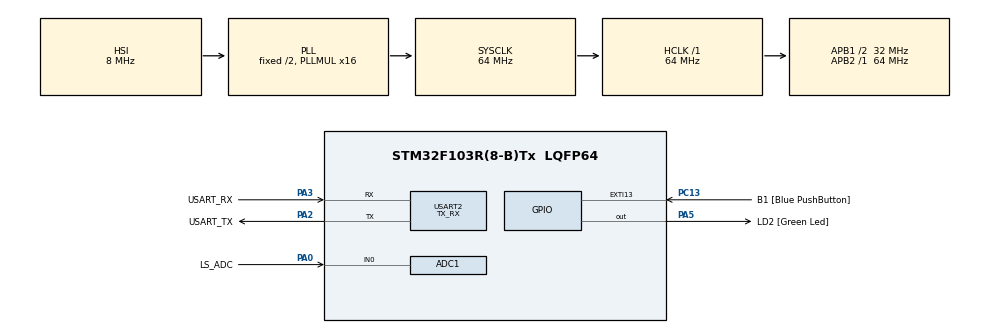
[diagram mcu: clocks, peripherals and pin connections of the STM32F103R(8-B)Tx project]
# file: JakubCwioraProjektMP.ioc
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ADC1.Channel-0\#ChannelRegularConversion=ADC_CHANNEL_0
ADC1.ContinuousConvMode=ENABLE
ADC1.ExternalTrigConv=ADC_EXTERNALTRIGCONV_T3_TRGO
ADC1.NbrOfConversion=1
ADC1.NbrOfConversionFlag=1
ADC1.Rank-0\#ChannelRegularConversion=1
ADC1.SamplingTime-0\#ChannelRegularConversion=ADC_SAMPLETIME_1CYCLE_5
ADC1.master=1
Dma.ADC1.0.Direction=DMA_PERIPH_TO_MEMORY
Dma.ADC1.0.Instance=DMA1_Channel1
Dma.ADC1.0.MemDataAlignment=DMA_MDATAALIGN_HALFWORD
Dma.ADC1.0.MemInc=DMA_MINC_ENABLE
Dma.ADC1.0.Mode=DMA_CIRCULAR
Dma.ADC1.0.PeriphDataAlignment=DMA_PDATAALIGN_HALFWORD
Dma.ADC1.0.PeriphInc=DMA_PINC_DISABLE
Dma.ADC1.0.Priority=DMA_PRIORITY_LOW
Dma.Request0=ADC1
Dma.Request1=USART2_RX
Dma.USART2_RX.1.Direction=DMA_PERIPH_TO_MEMORY
Dma.USART2_RX.1.Instance=DMA1_Channel6
Dma.USART2_RX.1.MemDataAlignment=DMA_MDATAALIGN_BYTE
Dma.USART2_RX.1.MemInc=DMA_MINC_ENABLE
Dma.USART2_RX.1.Mode=DMA_NORMAL
Dma.USART2_RX.1.PeriphDataAlignment=DMA_PDATAALIGN_BYTE
Dma.USART2_RX.1.PeriphInc=DMA_PINC_DISABLE
Dma.USART2_RX.1.Priority=DMA_PRIORITY_LOW
Mcu.Family=STM32F1
Mcu.Name=STM32F103R(8-B)Tx
Mcu.Package=LQFP64
NVIC.ADC1_2_IRQn=true\:0\:0\:true\:false\:true\:true\:true\:true
NVIC.DMA1_Channel1_IRQn=true\:0\:0\:false\:false\:true\:false\:true\:true
NVIC.DMA1_Channel6_IRQn=true\:0\:0\:false\:false\:true\:false\:true\:true
NVIC.EXTI15_10_IRQn=true\:0\:0\:false\:false\:true\:true\:true\:true
NVIC.PriorityGroup=NVIC_PRIORITYGROUP_4
NVIC.USART2_IRQn=true\:0\:0\:false\:false\:true\:true\:true\:true
PA0-WKUP.GPIO_Label=LS_ADC
PA0-WKUP.Signal=ADCx_IN0
PA13.GPIO_Label=TMS
PA13.Mode=Serial_Wire
PA13.Signal=SYS_JTMS-SWDIO
PA14.GPIO_Label=TCK
PA14.Mode=Serial_Wire
PA14.Signal=SYS_JTCK-SWCLK
PA2.GPIO_Label=USART_TX
PA2.GPIO_Mode=GPIO_MODE_AF_PP
PA2.GPIO_PuPd=GPIO_NOPULL
PA2.GPIO_Speed=GPIO_SPEED_FREQ_LOW
PA2.Mode=Asynchronous
PA2.Signal=USART2_TX
PA3.GPIO_Label=USART_RX
PA3.GPIO_Mode=GPIO_MODE_AF_PP
PA3.GPIO_PuPd=GPIO_NOPULL
PA3.GPIO_Speed=GPIO_SPEED_FREQ_LOW
PA3.Mode=Asynchronous
PA3.Signal=USART2_RX
PA5.GPIO_Label=LD2 [Green Led]
PA5.GPIO_ModeDefaultOutputPP=GPIO_MODE_OUTPUT_PP
PA5.GPIO_PuPd=GPIO_NOPULL
PA5.GPIO_Speed=GPIO_SPEED_FREQ_LOW
PA5.Signal=GPIO_Output
PB3.GPIO_Label=SWO
PB3.Signal=SYS_JTDO-TRACESWO
PC13-TAMPER-RTC.GPIO_Label=B1 [Blue PushButton]
PC13-TAMPER-RTC.GPIO_PuPd=GPIO_NOPULL
PC13-TAMPER-RTC.Signal=GPXTI13
PC14-OSC32_IN.Mode=LSE-External-Oscillator
PC14-OSC32_IN.Signal=RCC_OSC32_IN
PC15-OSC32_OUT.Mode=LSE-External-Oscillator
PC15-OSC32_OUT.Signal=RCC_OSC32_OUT
PD0-OSC_IN.Mode=HSE-External-Clock-Source
PD0-OSC_IN.Signal=RCC_OSC_IN
PD1-OSC_OUT.Mode=HSE-External-Clock-Source
PD1-OSC_OUT.Signal=RCC_OSC_OUT
ProjectManager.HeapSize=0x200
ProjectManager.StackSize=0x400
ProjectManager.TargetToolchain=STM32CubeIDE
RCC.ADCPresc=RCC_ADCPCLK2_DIV8
RCC.AHBFreq_Value=64000000
RCC.APB1CLKDivider=RCC_HCLK_DIV2
RCC.APB1Freq_Value=32000000
RCC.APB1TimFreq_Value=64000000
RCC.APB2Freq_Value=64000000
RCC.APB2TimFreq_Value=64000000
RCC.HCLKFreq_Value=64000000
RCC.PLLMUL=RCC_PLL_MUL16
RCC.RTCClockSelection=RCC_RTCCLKSOURCE_LSE
RCC.SYSCLKFreq_VALUE=64000000
RCC.SYSCLKSource=RCC_SYSCLKSOURCE_PLLCLK
RCC.USBFreq_Value=64000000
SH.ADCx_IN0.0=ADC1_IN0,IN0
TIM3.AutoReloadPreload=TIM_AUTORELOAD_PRELOAD_ENABLE
TIM3.Period=999
TIM3.Prescaler=7
TIM3.TIM_MasterOutputTrigger=TIM_TRGO_UPDATE
USART2.Mode=MODE_TX_RX
USART2.VirtualMode=VM_ASYNC
VP_TIM3_VS_ClockSourceINT.Mode=Internal
board=NUCLEO-F103RB

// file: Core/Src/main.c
/* USER CODE BEGIN Header */
/**
 * @file           : main.c
 * @brief          : Main program body
 */
/* USER CODE END Header */
#include "main.h"
#include "adc.h"
#include "dma.h"
#include "tim.h"
#include "usart.h"
#include "gpio.h"

/* USER CODE BEGIN Includes */
#include <stdio.h>
#include <string.h>
#include <stdbool.h>
#include "arm_math.h"
#include "arm_const_structs.h"
#include "circ_buffer.h"
#include "message_builder.h"
#include "parser.h"
#include "utils.h"
/* USER CODE END Includes */

/* USER CODE BEGIN PD */
#define BUFFER_SIZE_UART 2048
#define BUFFER_SIZE_ADC  512
#define FFT_SIZE         256
#define FRAME_MAX_LEN    255
/* USER CODE END PD */

/* USER CODE BEGIN PV */
__IO bool uart_tx_busy = false;

uint8_t rx_array[BUFFER_SIZE_UART];
uint8_t tx_array[BUFFER_SIZE_UART];
uint8_t dma_uart_rx_buffer[BUFFER_SIZE_UART];

// DSP Buffers
uint16_t adc_dma_buffer[BUFFER_SIZE_ADC];
q31_t fft_input_buffer[FFT_SIZE * 2];
q31_t fft_output[FFT_SIZE];

__IO circ_buf_t Rx_buff = { .buffer = rx_array, .size = BUFFER_SIZE_UART, .head = 0, .tail = 0 };
__IO circ_buf_t Tx_buff = { .buffer = tx_array, .size = BUFFER_SIZE_UART, .head = 0, .tail = 0 };

FrameParser parser;

volatile uint8_t adc_half_cplt = 0;
volatile uint8_t adc_full_cplt = 0;
/* USER CODE END PV */

void SystemClock_Config(void);
/* USER CODE BEGIN PFP */
void process_data_from_circular_buffer(void);
void process_fft_data(uint16_t *source_buffer);

// Functions exposed to command_processor.c
void SendFrame(uint8_t id, const uint8_t *data, size_t len, const uint8_t *rec);
void send_dft_data(uint8_t index, uint16_t value);
void send_error(uint8_t error_code, const uint8_t* rec);
/* USER CODE END PFP */

int main(void)
{

  /* MCU Configuration--------------------------------------------------------*/

  /* Reset of all peripherals, Initializes the Flash interface and the Systick. */
  HAL_Init();

  /* Configure the system clock */
  SystemClock_Config();

  /* Initialize all configured peripherals */
  MX_GPIO_Init();
  MX_DMA_Init();
  MX_USART2_UART_Init();
  MX_ADC1_Init();
  MX_TIM3_Init();
  /* USER CODE BEGIN 2 */
  Parser_Init(&parser);

  // Start Peripherals
  HAL_UARTEx_ReceiveToIdle_DMA(&huart2, dma_uart_rx_buffer, BUFFER_SIZE_UART);
  HAL_ADC_Start_DMA(&hadc1, (uint32_t*) adc_dma_buffer, BUFFER_SIZE_ADC);
  HAL_TIM_Base_Start(&htim3);
  /* USER CODE END 2 */

  /* Infinite loop */
  while (1)
  {

    /* USER CODE BEGIN 3 */
	// 1. Handle Communication
	process_data_from_circular_buffer();

	// 2. Handle DSP (First Half)
	if (adc_half_cplt) {
		adc_half_cplt = 0;
		process_fft_data(&adc_dma_buffer[0]);
	}

	// 3. Handle DSP (Second Half)
	if (adc_full_cplt) {
		adc_full_cplt = 0;
		process_fft_data(&adc_dma_buffer[FFT_SIZE]);
	}
  }
  /* USER CODE END 3 */
}

void SystemClock_Config(void)
{
  RCC_OscInitTypeDef RCC_OscInitStruct = {0};
  RCC_ClkInitTypeDef RCC_ClkInitStruct = {0};
  RCC_PeriphCLKInitTypeDef PeriphClkInit = {0};

  /** Initializes the RCC Oscillators according to the specified parameters
  * in the RCC_OscInitTypeDef structure.
  */
  RCC_OscInitStruct.OscillatorType = RCC_OSCILLATORTYPE_HSI;
  RCC_OscInitStruct.HSIState = RCC_HSI_ON;
  RCC_OscInitStruct.HSICalibrationValue = RCC_HSICALIBRATION_DEFAULT;
  RCC_OscInitStruct.PLL.PLLState = RCC_PLL_ON;
  RCC_OscInitStruct.PLL.PLLSource = RCC_PLLSOURCE_HSI_DIV2;
  RCC_OscInitStruct.PLL.PLLMUL = RCC_PLL_MUL16;
  if (HAL_RCC_OscConfig(&RCC_OscInitStruct) != HAL_OK)
  {
    Error_Handler();
  }

  /** Initializes the CPU, AHB and APB buses clocks
  */
  RCC_ClkInitStruct.ClockType = RCC_CLOCKTYPE_HCLK|RCC_CLOCKTYPE_SYSCLK
                              |RCC_CLOCKTYPE_PCLK1|RCC_CLOCKTYPE_PCLK2;
  RCC_ClkInitStruct.SYSCLKSource = RCC_SYSCLKSOURCE_PLLCLK;
  RCC_ClkInitStruct.AHBCLKDivider = RCC_SYSCLK_DIV1;
  RCC_ClkInitStruct.APB1CLKDivider = RCC_HCLK_DIV2;
  RCC_ClkInitStruct.APB2CLKDivider = RCC_HCLK_DIV1;

  if (HAL_RCC_ClockConfig(&RCC_ClkInitStruct, FLASH_LATENCY_2) != HAL_OK)
  {
    Error_Handler();
  }
  PeriphClkInit.PeriphClockSelection = RCC_PERIPHCLK_ADC;
  PeriphClkInit.AdcClockSelection = RCC_ADCPCLK2_DIV8;
  if (HAL_RCCEx_PeriphCLKConfig(&PeriphClkInit) != HAL_OK)
  {
    Error_Handler();
  }
}

/* USER CODE BEGIN 4 */
void process_data_from_circular_buffer(void) {
	uint8_t byte_to_process;
	while (cbuf_pop(&Rx_buff, &byte_to_process)) {

//		 // ================= ECHO START =================
//		        // 1. Wrzuć odebrany znak do bufora nadawczego (TX)
//		        cbuf_push(&Tx_buff, byte_to_process);
//
//		        if (byte_to_process == '\r') {
//		             cbuf_push(&Tx_buff, '\n');
//		        }
//
//		        // 2. Sprawdź czy transmisja trwa.
//		        __disable_irq();
//		        if (!uart_tx_busy && !cbuf_is_empty(&Tx_buff)) {
//		            uint8_t tx_byte;
//		            if (cbuf_pop(&Tx_buff, &tx_byte)) {
//		                uart_tx_busy = true;
//		                HAL_UART_Transmit_IT(&huart2, &tx_byte, 1);
//		            }
//		        }
//		        __enable_irq();
//		        // ================= ECHO END ===================

		Parser_ProcessByte(&parser, byte_to_process);
	}
}

void process_fft_data(uint16_t *source_buffer) {
    int32_t sum = 0;

    // 1. Oblicz średnią, aby idealnie usunąć DC Offset (Indeks zerowy wyniku dft)
    for (int i = 0; i < FFT_SIZE; i++) {
        sum += source_buffer[i];
    }
    int32_t avg = sum / FFT_SIZE;

    // 2. Przygotuj dane do Q31
    for (int i = 0; i < FFT_SIZE; i++) {
        // Odejmujemy realną średnią zamiast sztywnego 2048
        int32_t val = (int32_t)source_buffer[i] - avg;

        fft_input_buffer[i * 2] = (val << 14);
        fft_input_buffer[i * 2 + 1] = 0;       // Imaginary
    }

    // 3. Wykonaj FFT
    arm_cfft_q31(&arm_cfft_sR_q31_len256, fft_input_buffer, 0, 1);

    // 4. Oblicz magnitudę
    arm_cmplx_mag_q31(fft_input_buffer, fft_output, FFT_SIZE);

    // 5. Opcjonalne czyszczenie bin 0 (jeśli obliczona średnia nie była idealna)
    fft_output[0] = 0;
}

void SendFrame(uint8_t id, const uint8_t *data, size_t len, const uint8_t *rec) {
	message_builder builder;
	uint8_t build_buffer[FRAME_MAX_LEN];
	char hex_tmp[10];
	char reciever[2] = {rec[0], rec[1]};
	message_builder_init(&builder, build_buffer, sizeof(build_buffer));
	message_builder_add_text(&builder, "(ST");
	message_builder_add_text(&builder, reciever); // FIX: dodajemy adresata z parametrów
	sprintf(hex_tmp, "%02X", id);
	message_builder_add_text(&builder, hex_tmp);

	// Encode Data Payload to Hex
	for (size_t i = 0; i < len; i++) {
		sprintf(hex_tmp, "%02X", data[i]);
		message_builder_add_text(&builder, hex_tmp);
	}

	// Calculate CRC on RAW binary data (ID + Payload)
	uint8_t crc_calc_buf[len + 1];
	crc_calc_buf[0] = id;
	if (len > 0)
		memcpy(&crc_calc_buf[1], data, len);

	uint16_t crc_val = crc16(crc_calc_buf, len + 1);

	sprintf(hex_tmp, "%04X", crc_val);
	message_builder_add_text(&builder, hex_tmp);
	message_builder_add_text(&builder, ")"); // Footer

	// Push to TX Buffer
	for (size_t i = 0; i < builder.current_pos; ++i) {
		cbuf_push(&Tx_buff, build_buffer[i]);
	}

	// Trigger Transmission
	__disable_irq();
	if (!uart_tx_busy && !cbuf_is_empty(&Tx_buff)) {
		uint8_t byte;
		if (cbuf_pop(&Tx_buff, &byte)) {
			uart_tx_busy = true;
			HAL_UART_Transmit_IT(&huart2, &byte, 1);
		}
	}
	__enable_irq();
}

void send_error(uint8_t error_code, const uint8_t* rec) {
	uint8_t payload = error_code;
	SendFrame(error_code, &payload, 1, rec);
}

/* Callbacks -----------------------------------------------------------------*/

void HAL_UART_TxCpltCallback(UART_HandleTypeDef *huart) {
	if (huart->Instance == USART2) {
		uint8_t data;
		if (cbuf_pop(&Tx_buff, &data)) {
			HAL_UART_Transmit_IT(&huart2, &data, 1);
		} else {
			uart_tx_busy = false;
		}
	}
}

//TODO: Można brać rx_empy z dm i przetwarzać na bierzaco
void HAL_UARTEx_RxEventCallback(UART_HandleTypeDef *huart, uint16_t Size) {
	if (huart->Instance == USART2) {
		for (uint16_t i = 0; i < Size; i++) {
			cbuf_push(&Rx_buff, dma_uart_rx_buffer[i]);
		}
		HAL_UARTEx_ReceiveToIdle_DMA(huart, dma_uart_rx_buffer,
				BUFFER_SIZE_UART);
	}
}

void HAL_ADC_ConvHalfCpltCallback(ADC_HandleTypeDef *hadc) {
	adc_half_cplt = 1;
//	// --- TEST WIZUALNY ---
//	    static uint8_t led_divider = 0;
//	    led_divider++;
//
//	    // 31 przerwań na sekundę / 30 = zmiana stanu ok. 1 raz na sekundę
//	    if (led_divider >= 30) {
//	        HAL_GPIO_TogglePin(LD2_GPIO_Port, LD2_Pin); // Zmień stan diody
//	        led_divider = 0;
//	    }
//	    // ---------------------
}

void HAL_ADC_ConvCpltCallback(ADC_HandleTypeDef *hadc) {
	adc_full_cplt = 1;
}
/* USER CODE END 4 */

void Error_Handler(void)
{
  __disable_irq();
  while (1)
  {
  }
}
